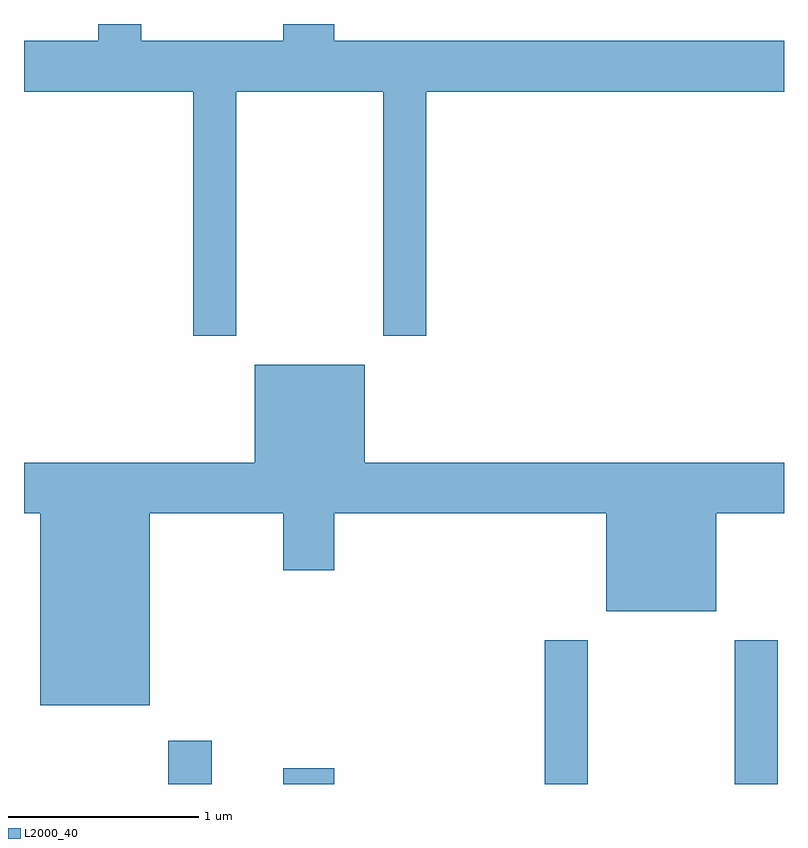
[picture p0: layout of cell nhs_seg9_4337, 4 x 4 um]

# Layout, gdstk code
import gdstk
lib = gdstk.Library(unit=1e-6, precision=1e-09)
def R(c, l, rs):  # rectangles x0, y0, x1, y1
    for r in rs: c.add(gdstk.rectangle(r[:2], r[2:], *l))
def P(c, l, *ps):  # polygons
    for p in ps: c.add(gdstk.Polygon(p, *l))
L2000_40 = (2000, 40)

nhs_seg9_4337 = lib.new_cell('nhs_seg9_4337')
R(nhs_seg9_4337, L2000_40, [(314.371,1950.432,314.599,1950.659), (314.976,1950.432,315.244,1950.514), (316.351,1950.432,316.579,1951.189), (317.351,1950.432,317.579,1951.189)])
P(nhs_seg9_4337, L2000_40, [(314.729,1954.076),(315.501,1954.076),(315.501,1952.791),(315.729,1952.791),(315.729,1954.076),(317.611,1954.076),(317.611,1954.344),(315.244,1954.344),(315.244,1954.432),(314.976,1954.432),(314.976,1954.344),(314.229,1954.344),(314.229,1954.432),(314.001,1954.432),(314.001,1954.344),(313.611,1954.344),(313.611,1954.076),(314.501,1954.076),(314.501,1952.791),(314.729,1952.791)],
  [(314.274,1951.856),(314.976,1951.856),(314.976,1951.556),(315.244,1951.556),(315.244,1951.856),(316.676,1951.856),(316.676,1951.341),(317.254,1951.341),(317.254,1951.856),(317.611,1951.856),(317.611,1952.124),(315.404,1952.124),(315.404,1952.639),(314.826,1952.639),(314.826,1952.124),(313.611,1952.124),(313.611,1951.856),(313.696,1951.856),(313.696,1950.846),(314.274,1950.846)])

lib.write_gds('nhs_seg9_4337.gds')
